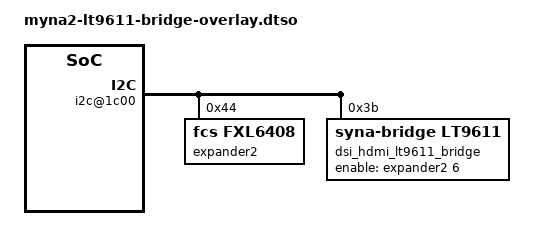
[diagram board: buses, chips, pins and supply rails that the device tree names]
/* SPDX-License-Identifier: GPL-2.0+ */
/*
* Copyright (C) 2016~2025 Synaptics Incorporated. All rights reserved.
*
* This program is free software; you can redistribute it and/or modify
* it under the terms of the GNU General Public License version 2 or
* later as published by the Free Software Foundation.
*
* INFORMATION CONTAINED IN THIS DOCUMENT IS PROVIDED "AS-IS," AND
* SYNAPTICS EXPRESSLY DISCLAIMS ALL EXPRESS AND IMPLIED WARRANTIES,
* INCLUDING ANY IMPLIED WARRANTIES OF MERCHANTABILITY AND FITNESS FOR
* A PARTICULAR PURPOSE, AND ANY WARRANTIES OF NON-INFRINGEMENT OF ANY
* INTELLECTUAL PROPERTY RIGHTS. IN NO EVENT SHALL SYNAPTICS BE LIABLE
* FOR ANY DIRECT, INDIRECT, INCIDENTAL, SPECIAL, PUNITIVE, OR
* CONSEQUENTIAL DAMAGES ARISING OUT OF OR IN CONNECTION WITH THE USE
* OF THE INFORMATION CONTAINED IN THIS DOCUMENT, HOWEVER CAUSED AND
* BASED ON ANY THEORY OF LIABILITY, WHETHER IN AN ACTION OF CONTRACT,
* NEGLIGENCE OR OTHER TORTIOUS ACTION, AND EVEN IF SYNAPTICS WAS
* ADVISED OF THE POSSIBILITY OF SUCH DAMAGE. IF A TRIBUNAL OF
* COMPETENT JURISDICTION DOES NOT PERMIT THE DISCLAIMER OF DIRECT
* DAMAGES OR ANY OTHER DAMAGES, SYNAPTICS' TOTAL CUMULATIVE LIABILITY
* TO ANY PARTY SHALL NOT EXCEED ONE HUNDRED U.S. DOLLARS.
*/

/dts-v1/;
/plugin/;

#include <dt-bindings/gpio/gpio.h>

/ {
	fragment@0 {

		target-path = "/soc";

		__overlay__ {
			drm: drm {
				dsi_panel {
					status= "okay";

					ACTIVE_WIDTH = <1920>;
					HFP = <88>;
					HSYNCWIDTH = <44>;
					HBP = <148>;
					ACTIVE_HEIGHT = <1080>;
					VFP = <4>;
					VSYNCWIDTH = <5>;
					VBP = <36>;
					FREQ = <148500>;
					PIXEL_CLOCK = <148500>;

					HTOTAL = <2200>;
					Lanes = /bits/ 8 <4>;
					Vid_mode = /bits/ 8 <2>;
					virtual_chan = /bits/ 8 <0>;
					Clk_Lane_Polarity = /bits/ 8 <0>;
					Data_Lane_Polarity = /bits/ 8 <0>;
					Recv_ack = /bits/ 8 <0>;
					Loosely_18 = /bits/ 8 <0>;
					H_polarity = /bits/ 8 <1>;
					V_Polarity = /bits/ 8 <1>;
					Data_Polarity = /bits/ 8 <1>;
					Eotp_tx = /bits/ 8 <1>;
					Eotp_rx = /bits/ 8 <0>;
					non-Continuous_clk = /bits/ 8 <0>;
					dpi_lp_cmd = /bits/ 8 <1>;
					Color_coding = /bits/ 8 <5>;
					Chunks = <0>;
					Null_Pkt = <0>;
					Byte_clk = <148500>;

					command =  /bits/ 8 <0xFF 0xC0 0xD4 0x01 0x00 0xFF 0x10 0x27 0x00 0x00>;
				};

			};
		};
	};

	fragment@1 {

		target-path = "/soc/apb@f7e80000/i2c@1c00";

		__overlay__ {
			expander2: gpio@44 {
				compatible = "fcs,fxl6408";
				reg = <0x44>;
				gpio-controller;
				#gpio-cells = <2>;
			};
			dsi_hdmi_lt9611_bridge {
				compatible = "syna-bridge,lt9611";
				status = "okay";
				reg = <0x3B>;
				enable-gpio = <&expander2 6 GPIO_ACTIVE_HIGH>;
			};
		};
	};
};
